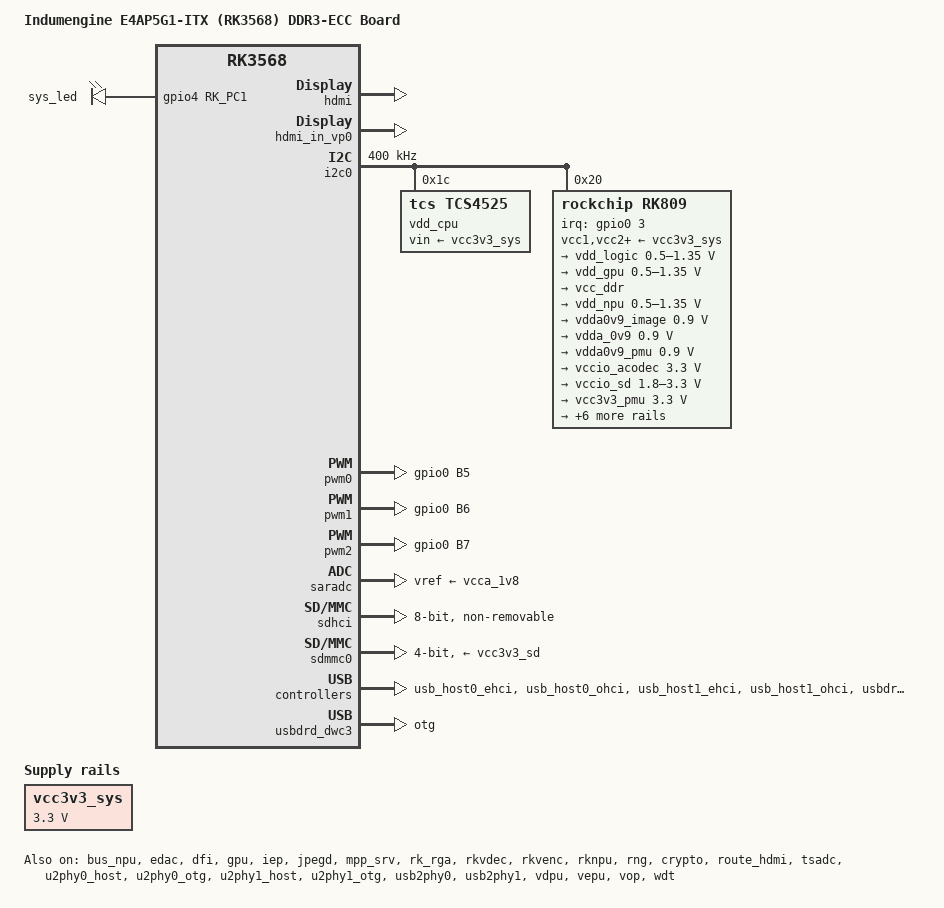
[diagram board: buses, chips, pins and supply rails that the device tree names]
// SPDX-License-Identifier: (GPL-2.0+ OR MIT)
/*
 * Copyright (c) 2021 FriendlyElec Computer Tech. Co., Ltd.
 * (http://www.friendlyarm.com)
 *
 * Copyright (c) 2020 Rockchip Electronics Co., Ltd.
 */

#include <dt-bindings/gpio/gpio.h>
#include <dt-bindings/pwm/pwm.h>
#include <dt-bindings/pinctrl/rockchip.h>
#include <dt-bindings/input/linux-event-codes.h>
#include <dt-bindings/display/drm_mipi_dsi.h>
#include <dt-bindings/display/rockchip_vop.h>
#include <dt-bindings/sensor-dev.h>

/ {
	model = "Indumengine E4AP5G1-ITX (RK3568) DDR3-ECC Board";
	compatible = "IndiumEngine,e4ap5g1",
		     "rockchip,rk3568";

	chosen: chosen {
		stdout-path = "serial2:115200n8";
	};

	aliases {
		ethernet1 = &gmac1;
		mmc0 = &sdmmc0;
	};



	hdmi_sound: hdmi-sound {
		compatible = "simple-audio-card";
		simple-audio-card,format = "i2s";
		simple-audio-card,mclk-fs = <128>;
		simple-audio-card,name = "rockchip,hdmi0";
		status = "disabled";

		simple-audio-card,cpu {
				sound-dai = <&i2s0_8ch>;
		};
		simple-audio-card,codec {
				sound-dai = <&hdmi>;
		};
	};

    vcc3v3_sys: vcc3v3-sys-regulator {
		compatible = "regulator-fixed";
		regulator-name = "vcc3v3_sys";
		regulator-always-on;
		regulator-boot-on;
		regulator-min-microvolt = <3300000>;
		regulator-max-microvolt = <3300000>;
	};

    leds {
		compatible = "gpio-leds";
		pinctrl-names = "default";

		sys_led: led-0 {
			default-state = "off";
			gpios = <&gpio4 RK_PC1 GPIO_ACTIVE_HIGH>;
		};
	};

};

&bus_npu {
	bus-supply = <&vdd_logic>;
	pvtm-supply = <&vdd_cpu>;
	status = "okay";
};

&cpu0 {
	cpu-supply = <&vdd_cpu>;
};

&edac {
    status = "okay";
};

&dfi {
	status = "okay";
};

&dmc {
	center-supply = <&vdd_logic>;
	status = "disabled";	//DO NOT OPEN THIS
};

/* video_phy0/1 needs to be enabled when dsi0/1 is enabled */
&dsi0 {
	status = "disabled";
};

&dsi1 {
	status = "disabled";
};

&gpu {
	mali-supply = <&vdd_gpu>;
	status = "okay";
};

&hdmi {
	status = "okay";
	rockchip,phy-table =
		<92812500  0x8009 0x0000 0x0270>,
		<165000000 0x800b 0x0000 0x026d>,
		<185625000 0x800b 0x0000 0x01ed>,
		<297000000 0x800b 0x0000 0x01ad>,
		<594000000 0x8029 0x0000 0x0088>,
		<000000000 0x0000 0x0000 0x0000>;
};

&hdmi_in_vp0 {
	status = "okay";
};

&hdmi_in_vp1 {
	status = "disabled";
};

&hdmi_sound {
	status = "okay";
};

&i2c0 {
	status = "okay";
	i2c-scl-rising-time-ns = <160>;
	i2c-scl-falling-time-ns = <30>;
	clock-frequency = <400000>;

	vdd_cpu: tcs4525@1c {
		compatible = "tcs,tcs4525";
		reg = <0x1c>;
		vin-supply = <&vcc3v3_sys>;
		regulator-compatible = "fan53555-reg";
		regulator-name = "vdd_cpu";
		regulator-min-microvolt = <712500>;
		regulator-max-microvolt = <1390000>;
		regulator-init-microvolt = <900000>;
		regulator-ramp-delay = <2300>;
		fcs,suspend-voltage-selector = <1>;
		regulator-boot-on;
		regulator-always-on;
		regulator-state-mem {
			regulator-off-in-suspend;
		};
	};

	rk809: pmic@20 {
		compatible = "rockchip,rk809";
		reg = <0x20>;
		interrupt-parent = <&gpio0>;
		interrupts = <3 IRQ_TYPE_LEVEL_LOW>;

		pinctrl-names = "default", "pmic-sleep",
				"pmic-power-off", "pmic-reset";
		pinctrl-0 = <&pmic_int>;
		pinctrl-1 = <&soc_slppin_slp>, <&rk817_slppin_slp>;
		pinctrl-2 = <&soc_slppin_gpio>, <&rk817_slppin_pwrdn>;
		pinctrl-3 = <&soc_slppin_gpio>, <&rk817_slppin_rst>;

		rockchip,system-power-controller;
		wakeup-source;
		#clock-cells = <1>;
		clock-output-names = "rk808-clkout1", "rk808-clkout2";
		//fb-inner-reg-idxs = <2>;
		/* 1: rst regs (default in codes), 0: rst the pmic */
		pmic-reset-func = <0>;
		/* not save the PMIC_POWER_EN register in uboot */
		not-save-power-en = <1>;

		vcc1-supply = <&vcc3v3_sys>;
		vcc2-supply = <&vcc3v3_sys>;
		vcc3-supply = <&vcc3v3_sys>;
		vcc4-supply = <&vcc3v3_sys>;
		vcc5-supply = <&vcc3v3_sys>;
		vcc6-supply = <&vcc3v3_sys>;
		vcc7-supply = <&vcc3v3_sys>;
		vcc8-supply = <&vcc3v3_sys>;
		vcc9-supply = <&vcc3v3_sys>;

		pwrkey {
			status = "okay";
		};

		pinctrl_rk8xx: pinctrl_rk8xx {
			gpio-controller;
			#gpio-cells = <2>;

			rk817_slppin_null: rk817_slppin_null {
				pins = "gpio_slp";
				function = "pin_fun0";
			};

			rk817_slppin_slp: rk817_slppin_slp {
				pins = "gpio_slp";
				function = "pin_fun1";
			};

			rk817_slppin_pwrdn: rk817_slppin_pwrdn {
				pins = "gpio_slp";
				function = "pin_fun2";
			};

			rk817_slppin_rst: rk817_slppin_rst {
				pins = "gpio_slp";
				function = "pin_fun3";
			};
		};

		regulators {
			vdd_logic: DCDC_REG1 {
				regulator-always-on;
				regulator-boot-on;
				regulator-min-microvolt = <500000>;
				regulator-max-microvolt = <1350000>;
				regulator-init-microvolt = <900000>;
				regulator-ramp-delay = <6001>;
				regulator-initial-mode = <0x2>;
				regulator-name = "vdd_logic";
				regulator-state-mem {
					regulator-off-in-suspend;
				};
			};

			vdd_gpu: DCDC_REG2 {
				regulator-always-on;
				regulator-boot-on;
				regulator-min-microvolt = <500000>;
				regulator-max-microvolt = <1350000>;
				regulator-init-microvolt = <900000>;
				regulator-ramp-delay = <6001>;
				regulator-initial-mode = <0x2>;
				regulator-name = "vdd_gpu";
				regulator-state-mem {
					regulator-off-in-suspend;
				};
			};

			vcc_ddr: DCDC_REG3 {
				regulator-always-on;
				regulator-boot-on;
				regulator-initial-mode = <0x2>;
				regulator-name = "vcc_ddr";
				regulator-state-mem {
					regulator-on-in-suspend;
				};
			};

			vdd_npu: DCDC_REG4 {
				regulator-always-on;
				regulator-boot-on;
				regulator-min-microvolt = <500000>;
				regulator-max-microvolt = <1350000>;
				regulator-init-microvolt = <900000>;
				regulator-ramp-delay = <6001>;
				regulator-initial-mode = <0x2>;
				regulator-name = "vdd_npu";
				regulator-state-mem {
					regulator-off-in-suspend;
				};
			};

			vdda0v9_image: LDO_REG1 {
				regulator-boot-on;
				regulator-always-on;
				regulator-min-microvolt = <900000>;
				regulator-max-microvolt = <900000>;
				regulator-name = "vdda0v9_image";
				regulator-state-mem {
					regulator-off-in-suspend;
				};
			};
            

			vdda_0v9: LDO_REG2 {
				regulator-always-on;
				regulator-boot-on;
				regulator-min-microvolt = <900000>;
				regulator-max-microvolt = <900000>;
				regulator-name = "vdda_0v9";
				regulator-state-mem {
					regulator-off-in-suspend;
				};
			};

			vdda0v9_pmu: LDO_REG3 {
				regulator-always-on;
				regulator-boot-on;
				regulator-min-microvolt = <900000>;
				regulator-max-microvolt = <900000>;
				regulator-name = "vdda0v9_pmu";
				regulator-state-mem {
					regulator-on-in-suspend;
					regulator-suspend-microvolt = <900000>;
				};
			};

			vccio_acodec: LDO_REG4 {
				regulator-always-on;
				regulator-boot-on;
				regulator-min-microvolt = <3300000>;
				regulator-max-microvolt = <3300000>;
				regulator-name = "vccio_acodec";
				regulator-state-mem {
					regulator-off-in-suspend;
				};
			};

			vccio_sd: LDO_REG5 {
				regulator-always-on;
				regulator-boot-on;
				regulator-min-microvolt = <1800000>;
				regulator-max-microvolt = <3300000>;
				regulator-name = "vccio_sd";
				regulator-state-mem {
					regulator-off-in-suspend;
				};
			};

			vcc3v3_pmu: LDO_REG6 {
				regulator-always-on;
				regulator-boot-on;
				regulator-min-microvolt = <3300000>;
				regulator-max-microvolt = <3300000>;
				regulator-name = "vcc3v3_pmu";
				regulator-state-mem {
					regulator-on-in-suspend;
					regulator-suspend-microvolt = <3300000>;
				};
			};

			vcca_1v8: LDO_REG7 {
				regulator-always-on;
				regulator-boot-on;
				regulator-min-microvolt = <1800000>;
				regulator-max-microvolt = <1800000>;
				regulator-name = "vcca_1v8";
				regulator-state-mem {
					regulator-off-in-suspend;
				};
			};

			vcca1v8_pmu: LDO_REG8 {
				regulator-always-on;
				regulator-boot-on;
				regulator-min-microvolt = <1800000>;
				regulator-max-microvolt = <1800000>;
				regulator-name = "vcca1v8_pmu";
				regulator-state-mem {
					regulator-on-in-suspend;
					regulator-suspend-microvolt = <1800000>;
				};
			};

			vcca1v8_image: LDO_REG9 {
				regulator-always-on;
				regulator-boot-on;
				regulator-min-microvolt = <1800000>;
				regulator-max-microvolt = <1800000>;
				regulator-name = "vcca1v8_image";
				regulator-state-mem {
					regulator-off-in-suspend;
				};
			};

			vcc_1v8: DCDC_REG5 {
				regulator-always-on;
				regulator-boot-on;
				regulator-min-microvolt = <1800000>;
				regulator-max-microvolt = <1800000>;
				regulator-name = "vcc_1v8";
				regulator-state-mem {
					regulator-off-in-suspend;
				};
			};

			vcc_3v3: SWITCH_REG1 {
				regulator-always-on;
				regulator-boot-on;
				regulator-name = "vcc_3v3";
				regulator-state-mem {
					regulator-off-in-suspend;
				};
			};

			vcc3v3_sd: SWITCH_REG2 {
				regulator-always-on;
				regulator-boot-on;
				regulator-name = "vcc3v3_sd";
				regulator-state-mem {
					regulator-off-in-suspend;
				};
			};
		};

		rk809_codec: codec {
			status = "disabled";
		};
	};
};

&i2s1_8ch {
	status = "disabled";
};

&iep {
	status = "okay";
};

&iep_mmu {
	status = "okay";
};

&jpegd {
	status = "okay";
};

&jpegd_mmu {
	status = "okay";
};

&mpp_srv {
	status = "okay";
};

&nandc0 {
	status = "disabled";
};

&pinctrl {
    
    pmic {
		pmic_int: pmic_int {
			rockchip,pins = <0 RK_PA3 RK_FUNC_GPIO &pcfg_pull_up>;
		};

		soc_slppin_gpio: soc_slppin_gpio {
			rockchip,pins = <0 RK_PA2 RK_FUNC_GPIO &pcfg_output_low_pull_down>;
		};

		soc_slppin_slp: soc_slppin_slp {
			rockchip,pins = <0 RK_PA2 1 &pcfg_pull_up>;
		};

		soc_slppin_rst: soc_slppin_rst {
			rockchip,pins = <0 RK_PA2 2 &pcfg_pull_none>;
		};
	};
	// PWM0 作为风扇调速输出
    pwm0 {
        pwm0_pin: pwm0-pin {
            rockchip,pins = <0 RK_PB5 1 &pcfg_pull_none>;
        };
    };

    // PWM1 作为风扇转速输入
    pwm1 {
        pwm1_pin: pwm1-pin {
            rockchip,pins = <0 RK_PB6 0 &pcfg_pull_none>;
        };
    };

    // PWM2 作为蜂鸣器输出
    pwm2 {
        pwm2_pin: pwm2-pin {
            rockchip,pins = <0 RK_PB7 1 &pcfg_pull_none>;
        };
    };

    i2c2 {
        /omit-if-no-ref/
        i2c2m1_xfer: i2c2m1-xfer {
            rockchip,pins =
                /* I2C2_SCL_M1 */
                <0 RK_PB5 2 &pcfg_pull_none_smt>,
                /* I2C2_SDA_M1 */
                <0 RK_PB4 2 &pcfg_pull_none_smt>;
        };
    };

	leds {
		sys_led_pins: sys_led_pins {
			rockchip,pins = <4 RK_PC1 RK_FUNC_GPIO &pcfg_pull_none>;
		};
	};

	pcie {
		pcie3x2_reset_h: pcie3x2-reset-h {
			rockchip,pins = <2 RK_PD6 RK_FUNC_GPIO &pcfg_pull_none_drv_level_5>;
		};
	};

	pmic {
		pmic_int: pmic_int {
			rockchip,pins =
				<0 RK_PA3 RK_FUNC_GPIO &pcfg_pull_up>;
		};
	};
};

/*
 * There are 10 independent IO domains in RK3566/RK3568, including PMUIO[0:2] and VCCIO[1:7].
 * 1/ PMUIO0 and PMUIO1 are fixed-level power domains which cannot be configured;
 * 2/ PMUIO2 and VCCIO1,VCCIO[3:7] domains require that their hardware power supply voltages
 *    must be consistent with the software configuration correspondingly
 *	a/ When the hardware IO level is connected to 1.8V, the software voltage configuration
 *	   should also be configured to 1.8V accordingly;
 *	b/ When the hardware IO level is connected to 3.3V, the software voltage configuration
 *	   should also be configured to 3.3V accordingly;
 * 3/ VCCIO2 voltage control selection (0xFDC20140)
 *	BIT[0]: 0x0: from GPIO_0A7 (default)
 *	BIT[0]: 0x1: from GRF
 *    Default is determined by Pin FLASH_VOL_SEL/GPIO0_A7:
 *	L:VCCIO2 must supply 3.3V
 *	H:VCCIO2 must supply 1.8V
 */
&pmu_io_domains {
	pmuio1-supply = <&vcc_3v3>;
	pmuio2-supply = <&vcc_3v3>;
	vccio1-supply = <&vcc_3v3>;
	vccio2-supply = <&vcc_1v8>;
	vccio3-supply = <&vccio_sd>;
	vccio4-supply = <&vcc_3v3>;
	vccio5-supply = <&vcc_3v3>;
	vccio6-supply = <&vcc_3v3>;
	vccio7-supply = <&vcc_3v3>;
	status = "okay";
};

&pwm0 {
	status = "okay";
    pinctrl-names = "default";
    pinctrl-0 = <&pwm0_pin>;
    duty-cycle = <50>;
};

&pwm1 {
	status = "okay";
    pinctrl-names = "default";
    pinctrl-0 = <&pwm1_pin>;
    // 配置为 GPIO 输入模式（用于测速）
    rockchip,pwm-mode = <0>; // 0=GPIO, 1=PWM
};

&pwm2 {
    status = "okay";
    pinctrl-names = "default";
    pinctrl-0 = <&pwm2_pin>;
    duty-cycle = <0>;
};

&pwm7 {
	status = "disabled";
};

&reserved_memory {
	linux,cma {
		compatible = "shared-dma-pool";
		inactive;
		reusable;
		reg = <0x0 0x10000000 0x0 0x00800000>;
		linux,cma-default;
	};

	ramoops: ramoops@110000 {
		compatible = "ramoops";
		reg = <0x0 0x110000 0x0 0xf0000>;
		record-size = <0x20000>;
		console-size = <0x80000>;
		ftrace-size = <0x00000>;
		pmsg-size = <0x50000>;
	};
};

&rk_rga {
	status = "okay";
};

&rkvdec {
	rockchip,disable-auto-freq;
	assigned-clock-rates = <396000000>, <396000000>, <396000000>, <600000000>;
	status = "okay";
};

&rkvdec_mmu {
	status = "okay";
};

&rkvenc {
	venc-supply = <&vdd_logic>;
	status = "okay";
};

&rkvenc_mmu {
	status = "okay";
};

&rknpu {
	rknpu-supply = <&vdd_npu>;
	status = "okay";
};

&rknpu_mmu {
	status = "okay";
};

&rng {
	status = "okay";
};

&crypto {
	status = "okay";
};

&rockchip_suspend {
	status = "okay";
};

&route_hdmi {
	status = "okay";
	connect = <&vp0_out_hdmi>;
};

&saradc {
	status = "okay";
	vref-supply = <&vcca_1v8>;
};

&sdhci {
	bus-width = <8>;
	no-sdio;
	no-sd;
	non-removable;
	max-frequency = <200000000>;
	pinctrl-names = "default";
	pinctrl-0 = <&emmc_bus8 &emmc_clk &emmc_cmd>;
	full-pwr-cycle-in-suspend;
	status = "okay";
};

&sdmmc0 {
	max-frequency = <150000000>;
	no-sdio;
	no-mmc;
	bus-width = <4>;
	cap-mmc-highspeed;
	cap-sd-highspeed;
	disable-wp;
	sd-uhs-sdr104;
	vmmc-supply = <&vcc3v3_sd>;
	vqmmc-supply = <&vccio_sd>;
	pinctrl-names = "default";
	pinctrl-0 = <&sdmmc0_bus4 &sdmmc0_clk &sdmmc0_cmd &sdmmc0_det>;
	status = "okay";
};


&tsadc {
	status = "okay";
};

&u2phy0_host {
	status = "okay";
};

&u2phy0_otg {
	status = "okay";
};

&u2phy1_host {
	status = "okay";
};

&u2phy1_otg {
	status = "okay";
};

&usb2phy0 {
	status = "okay";
};

&usb2phy1 {
	status = "okay";
};

&usb_host0_ehci {
	status = "okay";
};

&usb_host0_ohci {
	status = "okay";
};

&usb_host1_ehci {
	status = "okay";
};

&usb_host1_ohci {
	status = "okay";
};

&usbdrd_dwc3 {
	dr_mode = "otg";
	extcon = <&usb2phy0>;
	status = "okay";
};

&usbdrd30 {
	status = "okay";
};

&usbhost_dwc3 {
	status = "okay";
};

&usbhost30 {
	status = "okay";
};

&vad {
	rockchip,audio-src = <&i2s1_8ch>;
	rockchip,buffer-time-ms = <128>;
	rockchip,det-channel = <0>;
	rockchip,mode = <0>;
};

&vdpu {
	status = "okay";
};

&vdpu_mmu {
	status = "okay";
};

&vepu {
	status = "okay";
};

&vepu_mmu {
	status = "okay";
};

&video_phy0 {
	status = "disabled";
};

&video_phy1 {
	status = "disabled";
};

&vop {
	status = "okay";
	vop-supply = <&vdd_logic>;
	assigned-clocks = <&cru DCLK_VOP0>, <&cru DCLK_VOP1>, <&cru DCLK_VOP2>;
	assigned-clock-parents = <&pmucru PLL_HPLL>, <&cru PLL_VPLL>, <&cru PLL_GPLL>;
	support-multi-area;
};

&vop_mmu {
	status = "okay";
};

&vp0 {
	rockchip,plane-mask = <(
				1 << ROCKCHIP_VOP2_CLUSTER0 | 1 << ROCKCHIP_VOP2_ESMART0 |
				1 << ROCKCHIP_VOP2_CLUSTER1 | 1 << ROCKCHIP_VOP2_ESMART1 )>;
	rockchip,primary-plane = <ROCKCHIP_VOP2_ESMART0>;
	cursor-win-id = <ROCKCHIP_VOP2_ESMART1>;
};

&vp1 {
	rockchip,plane-mask = <(1 << ROCKCHIP_VOP2_SMART0 | 1 << ROCKCHIP_VOP2_SMART1)>;
	rockchip,primary-plane = <ROCKCHIP_VOP2_SMART0>;
};

&vp2 {
	status = "disabled";
};

&wdt {
	status = "okay";
};
